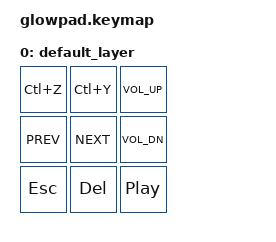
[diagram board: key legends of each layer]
#include <behaviors.dtsi>
#include <dt-bindings/zmk/keys.h>

/ {
	keymap {
		compatible = "zmk,keymap";
		
		default_layer {
			// |      Z      |      M      |      K      |
			// |      A      |      B      |      C      |
			// |      D      |      E      |      F      |
			bindings = <
			&kp LC(Z)    &kp LC(Y)    &kp C_VOL_UP
			&kp C_PREV   &kp C_NEXT   &kp C_VOL_DN
			&kp ESC      &kp DELETE   &kp C_PLAY_PAUSE
			>;
		};
	};
};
